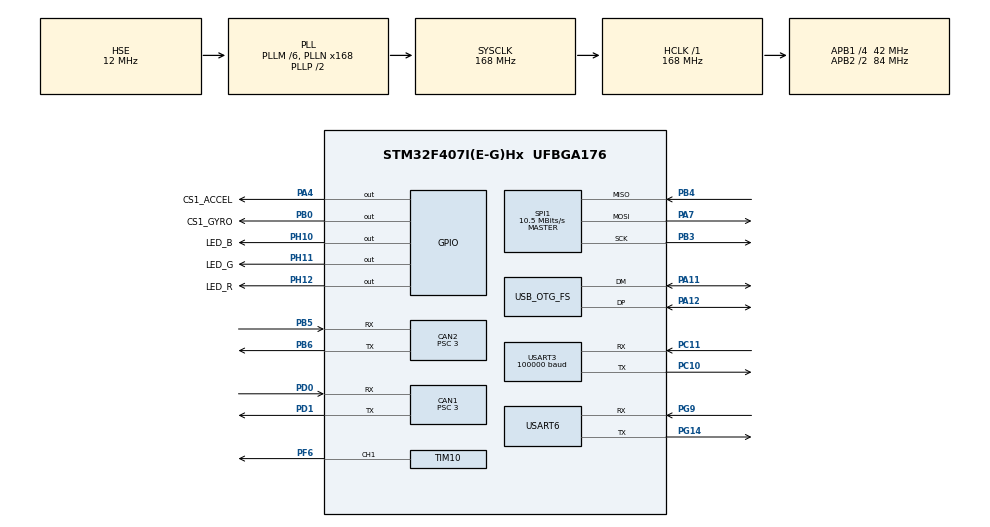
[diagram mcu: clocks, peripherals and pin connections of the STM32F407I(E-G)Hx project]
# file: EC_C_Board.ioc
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CAN1.ABOM=DISABLE
CAN1.AWUM=DISABLE
CAN1.BS1=CAN_BS1_10TQ
CAN1.BS2=CAN_BS2_3TQ
CAN1.CalculateBaudRate=1000000
CAN1.CalculateTimeBit=1000
CAN1.CalculateTimeQuantum=71.42857142857143
CAN1.NART=DISABLE
CAN1.Prescaler=3
CAN1.TXFP=DISABLE
CAN2.ABOM=DISABLE
CAN2.AWUM=DISABLE
CAN2.BS1=CAN_BS1_10TQ
CAN2.BS2=CAN_BS2_3TQ
CAN2.CalculateBaudRate=1000000
CAN2.CalculateTimeBit=1000
CAN2.CalculateTimeQuantum=71.42857142857143
CAN2.NART=DISABLE
CAN2.Prescaler=3
CAN2.TXFP=DISABLE
Dma.Request0=USART3_RX
Dma.Request1=USART6_RX
Dma.Request2=USART6_TX
Dma.USART3_RX.0.Direction=DMA_PERIPH_TO_MEMORY
Dma.USART3_RX.0.FIFOMode=DMA_FIFOMODE_DISABLE
Dma.USART3_RX.0.Instance=DMA1_Stream1
Dma.USART3_RX.0.MemDataAlignment=DMA_MDATAALIGN_BYTE
Dma.USART3_RX.0.MemInc=DMA_MINC_ENABLE
Dma.USART3_RX.0.Mode=DMA_NORMAL
Dma.USART3_RX.0.PeriphDataAlignment=DMA_PDATAALIGN_BYTE
Dma.USART3_RX.0.PeriphInc=DMA_PINC_DISABLE
Dma.USART3_RX.0.Priority=DMA_PRIORITY_HIGH
Dma.USART6_RX.1.Direction=DMA_PERIPH_TO_MEMORY
Dma.USART6_RX.1.FIFOMode=DMA_FIFOMODE_DISABLE
Dma.USART6_RX.1.Instance=DMA2_Stream1
Dma.USART6_RX.1.MemDataAlignment=DMA_MDATAALIGN_BYTE
Dma.USART6_RX.1.MemInc=DMA_MINC_ENABLE
Dma.USART6_RX.1.Mode=DMA_NORMAL
Dma.USART6_RX.1.PeriphDataAlignment=DMA_PDATAALIGN_BYTE
Dma.USART6_RX.1.PeriphInc=DMA_PINC_DISABLE
Dma.USART6_RX.1.Priority=DMA_PRIORITY_LOW
Dma.USART6_TX.2.Direction=DMA_MEMORY_TO_PERIPH
Dma.USART6_TX.2.FIFOMode=DMA_FIFOMODE_DISABLE
Dma.USART6_TX.2.Instance=DMA2_Stream6
Dma.USART6_TX.2.MemDataAlignment=DMA_MDATAALIGN_BYTE
Dma.USART6_TX.2.MemInc=DMA_MINC_ENABLE
Dma.USART6_TX.2.Mode=DMA_NORMAL
Dma.USART6_TX.2.PeriphDataAlignment=DMA_PDATAALIGN_BYTE
Dma.USART6_TX.2.PeriphInc=DMA_PINC_DISABLE
Dma.USART6_TX.2.Priority=DMA_PRIORITY_LOW
FREERTOS.INCLUDE_vTaskDelayUntil=1
FREERTOS.Tasks01=defaultTask,0,128,StartDefaultTask,Default,NULL,Dynamic,NULL,NULL;insTask,3,512,StartInsTask,Default,NULL,Dynamic,NULL,NULL;gimbalTask,2,512,StartGimbalTask,Default,NULL,Dynamic,NULL,NULL;modeTask,1,256,StartModeTask,Default,NULL,Dynamic,NULL,NULL;chassisTask,0,256,StartChassisTask,Default,NULL,Dynamic,NULL,NULL;canTask,2,256,StartCanTask,Default,NULL,Dynamic,NULL,NULL
FREERTOS.configENABLE_FPU=1
FREERTOS.configUSE_NEWLIB_REENTRANT=1
Mcu.Family=STM32F4
Mcu.Name=STM32F407I(E-G)Hx
Mcu.Package=UFBGA176
NVIC.CAN1_RX0_IRQn=true\:5\:0\:false\:false\:true\:true\:true\:true\:true
NVIC.CAN2_RX0_IRQn=true\:5\:0\:false\:false\:true\:true\:true\:true\:true
NVIC.DMA1_Stream1_IRQn=true\:5\:0\:false\:false\:true\:true\:false\:true\:true
NVIC.DMA2_Stream1_IRQn=true\:5\:0\:false\:false\:true\:true\:false\:true\:true
NVIC.DMA2_Stream6_IRQn=true\:5\:0\:false\:false\:true\:true\:false\:true\:true
NVIC.OTG_FS_IRQn=true\:5\:0\:false\:false\:true\:true\:false\:true\:true
NVIC.PriorityGroup=NVIC_PRIORITYGROUP_4
NVIC.TIM8_TRG_COM_TIM14_IRQn=true\:15\:0\:false\:false\:true\:false\:false\:true\:true
NVIC.TimeBase=TIM8_TRG_COM_TIM14_IRQn
NVIC.TimeBaseIP=TIM14
NVIC.USART3_IRQn=true\:5\:0\:false\:false\:true\:true\:true\:true\:true
NVIC.USART6_IRQn=true\:5\:0\:false\:false\:true\:true\:true\:true\:true
PA11.Mode=Device_Only
PA11.Signal=USB_OTG_FS_DM
PA12.Mode=Device_Only
PA12.Signal=USB_OTG_FS_DP
PA13.Mode=Serial_Wire
PA13.Signal=SYS_JTMS-SWDIO
PA14.Mode=Serial_Wire
PA14.Signal=SYS_JTCK-SWCLK
PA4.GPIO_Label=CS1_ACCEL
PA4.GPIO_PuPd=GPIO_PULLUP
PA4.GPIO_Speed=GPIO_SPEED_FREQ_HIGH
PA4.PinState=GPIO_PIN_SET
PA4.Signal=GPIO_Output
PA7.Mode=Full_Duplex_Master
PA7.Signal=SPI1_MOSI
PB0.GPIO_Label=CS1_GYRO
PB0.GPIO_PuPd=GPIO_PULLUP
PB0.GPIO_Speed=GPIO_SPEED_FREQ_HIGH
PB0.PinState=GPIO_PIN_SET
PB0.Signal=GPIO_Output
PB3.Mode=Full_Duplex_Master
PB3.Signal=SPI1_SCK
PB4.Mode=Full_Duplex_Master
PB4.Signal=SPI1_MISO
PB5.Mode=CAN_Activate
PB5.Signal=CAN2_RX
PB6.Mode=CAN_Activate
PB6.Signal=CAN2_TX
PC10.Mode=Asynchronous
PC10.Signal=USART3_TX
PC11.Mode=Asynchronous
PC11.Signal=USART3_RX
PD0.Mode=CAN_Activate
PD0.Signal=CAN1_RX
PD1.Mode=CAN_Activate
PD1.Signal=CAN1_TX
PF6.Signal=S_TIM10_CH1
PG14.Mode=Asynchronous
PG14.Signal=USART6_TX
PG9.Mode=Asynchronous
PG9.Signal=USART6_RX
PH0-OSC_IN.Mode=HSE-External-Oscillator
PH0-OSC_IN.Signal=RCC_OSC_IN
PH1-OSC_OUT.Mode=HSE-External-Oscillator
PH1-OSC_OUT.Signal=RCC_OSC_OUT
PH10.GPIO_Label=LED_B
PH10.GPIO_PuPd=GPIO_PULLUP
PH10.PinState=GPIO_PIN_SET
PH10.Signal=GPIO_Output
PH11.GPIO_Label=LED_G
PH11.GPIO_PuPd=GPIO_PULLUP
PH11.Signal=GPIO_Output
PH12.GPIO_Label=LED_R
PH12.GPIO_PuPd=GPIO_PULLUP
PH12.Signal=GPIO_Output
ProjectManager.HeapSize=0x4000
ProjectManager.StackSize=0x4000
ProjectManager.TargetToolchain=STM32CubeIDE
RCC.48MHZClocksFreq_Value=48000000
RCC.AHBFreq_Value=168000000
RCC.APB1CLKDivider=RCC_HCLK_DIV4
RCC.APB1Freq_Value=42000000
RCC.APB1TimFreq_Value=84000000
RCC.APB2CLKDivider=RCC_HCLK_DIV2
RCC.APB2Freq_Value=84000000
RCC.APB2TimFreq_Value=168000000
RCC.CortexFreq_Value=168000000
RCC.HCLKFreq_Value=168000000
RCC.HSE_VALUE=12000000
RCC.HSI_VALUE=16000000
RCC.LSE_VALUE=32768
RCC.PLLM=6
RCC.PLLN=168
RCC.PLLQ=7
RCC.SYSCLKFreq_VALUE=168000000
RCC.SYSCLKSource=RCC_SYSCLKSOURCE_PLLCLK
RCC.VCOOutputFreq_Value=336000000
SH.S_TIM10_CH1.0=TIM10_CH1,PWM Generation1 CH1
SPI1.BaudRatePrescaler=SPI_BAUDRATEPRESCALER_8
SPI1.CLKPhase=SPI_PHASE_2EDGE
SPI1.CLKPolarity=SPI_POLARITY_HIGH
SPI1.CalculateBaudRate=10.5 MBits/s
SPI1.Direction=SPI_DIRECTION_2LINES
SPI1.Mode=SPI_MODE_MASTER
SPI1.VirtualType=VM_MASTER
STMicroelectronics.X-CUBE-ALGOBUILD.1.3.0.LibraryCcDSPOoLibraryJjDSPOoLibrary=true
TIM10.Channel=TIM_CHANNEL_1
TIM10.Period=2000-1
TIM10.Prescaler=84-1
USART3.BaudRate=100000
USART3.Mode=MODE_RX
USART3.Parity=PARITY_EVEN
USART3.VirtualMode=VM_ASYNC
USART3.WordLength=WORDLENGTH_9B
USART6.VirtualMode=VM_ASYNC
USB_DEVICE.CLASS_NAME_FS=CDC
USB_DEVICE.VirtualMode-CDC_FS=Cdc
USB_DEVICE.VirtualModeFS=Cdc_FS
USB_OTG_FS.VirtualMode=Device_Only
VP_FREERTOS_VS_CMSIS_V1.Mode=CMSIS_V1
VP_STMicroelectronics.X-CUBE-ALGOBUILD_VS_DSPOoLibraryJjLibrary_1.3.0_1.3.0.Mode=DSPOoLibraryJjLibrary
VP_SYS_VS_tim14.Mode=TIM14
VP_TIM10_VS_ClockSourceINT.Mode=Enable_Timer
VP_USB_DEVICE_VS_USB_DEVICE_CDC_FS.Mode=CDC_FS
board=custom

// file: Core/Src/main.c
/* USER CODE BEGIN Header */
/**
 ******************************************************************************
 * @file           : main.c
 * @brief          : Main program body
 ******************************************************************************
 * @attention
 *
 * Copyright (c) 2023 STMicroelectronics.
 * All rights reserved.
 *
 * This software is licensed under terms that can be found in the LICENSE file
 * in the root directory of this software component.
 * If no LICENSE file comes with this software, it is provided AS-IS.
 *
 ******************************************************************************
 */
/* USER CODE END Header */
#include "main.h"
#include "cmsis_os.h"
#include "can.h"
#include "dma.h"
#include "spi.h"
#include "tim.h"
#include "usart.h"
#include "usb_device.h"
#include "gpio.h"

/* USER CODE BEGIN Includes */
#include "bmi088_driver.h"
#include "bsp_dwt.h"
#include "infantry.h"
/* USER CODE END Includes */

void SystemClock_Config(void);
void MX_FREERTOS_Init(void);

int main(void)
{

  /* MCU Configuration--------------------------------------------------------*/

  /* Reset of all peripherals, Initializes the Flash interface and the Systick. */
  HAL_Init();

  /* Configure the system clock */
  SystemClock_Config();

  /* Initialize all configured peripherals */
  MX_GPIO_Init();
  MX_DMA_Init();
  MX_CAN1_Init();
  MX_CAN2_Init();
  MX_SPI1_Init();
  MX_TIM10_Init();
  MX_USART3_UART_Init();
  MX_USART6_UART_Init();
  /* USER CODE BEGIN 2 */
    DWT_Init(168);
    while (BMI088_init(&hspi1, 1) != BMI088_NO_ERROR)
        ;
    InfantryGimbalInit();
  /* USER CODE END 2 */

  /* Call init function for freertos objects (in freertos.c) */
  MX_FREERTOS_Init();

  /* Start scheduler */
  osKernelStart();

  /* We should never get here as control is now taken by the scheduler */
  /* Infinite loop */
    while (1) {

    }
}

void SystemClock_Config(void)
{
  RCC_OscInitTypeDef RCC_OscInitStruct = {0};
  RCC_ClkInitTypeDef RCC_ClkInitStruct = {0};

  /** Configure the main internal regulator output voltage
  */
  __HAL_RCC_PWR_CLK_ENABLE();
  __HAL_PWR_VOLTAGESCALING_CONFIG(PWR_REGULATOR_VOLTAGE_SCALE1);

  /** Initializes the RCC Oscillators according to the specified parameters
  * in the RCC_OscInitTypeDef structure.
  */
  RCC_OscInitStruct.OscillatorType = RCC_OSCILLATORTYPE_HSE;
  RCC_OscInitStruct.HSEState = RCC_HSE_ON;
  RCC_OscInitStruct.PLL.PLLState = RCC_PLL_ON;
  RCC_OscInitStruct.PLL.PLLSource = RCC_PLLSOURCE_HSE;
  RCC_OscInitStruct.PLL.PLLM = 6;
  RCC_OscInitStruct.PLL.PLLN = 168;
  RCC_OscInitStruct.PLL.PLLP = RCC_PLLP_DIV2;
  RCC_OscInitStruct.PLL.PLLQ = 7;
  if (HAL_RCC_OscConfig(&RCC_OscInitStruct) != HAL_OK)
  {
    Error_Handler();
  }

  /** Initializes the CPU, AHB and APB buses clocks
  */
  RCC_ClkInitStruct.ClockType = RCC_CLOCKTYPE_HCLK|RCC_CLOCKTYPE_SYSCLK
                              |RCC_CLOCKTYPE_PCLK1|RCC_CLOCKTYPE_PCLK2;
  RCC_ClkInitStruct.SYSCLKSource = RCC_SYSCLKSOURCE_PLLCLK;
  RCC_ClkInitStruct.AHBCLKDivider = RCC_SYSCLK_DIV1;
  RCC_ClkInitStruct.APB1CLKDivider = RCC_HCLK_DIV4;
  RCC_ClkInitStruct.APB2CLKDivider = RCC_HCLK_DIV2;

  if (HAL_RCC_ClockConfig(&RCC_ClkInitStruct, FLASH_LATENCY_5) != HAL_OK)
  {
    Error_Handler();
  }
}

void HAL_TIM_PeriodElapsedCallback(TIM_HandleTypeDef *htim)
{
  if (htim->Instance == TIM14) {
    HAL_IncTick();
  }
}

void Error_Handler(void)
{
    __disable_irq();
    while (1) {
    }
}

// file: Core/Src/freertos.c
/* USER CODE BEGIN Header */
/**
 ******************************************************************************
 * File Name          : freertos.c
 * Description        : Code for freertos applications
 ******************************************************************************
 * @attention
 *
 * Copyright (c) 2023 STMicroelectronics.
 * All rights reserved.
 *
 * This software is licensed under terms that can be found in the LICENSE file
 * in the root directory of this software component.
 * If no LICENSE file comes with this software, it is provided AS-IS.
 *
 ******************************************************************************
 */
/* USER CODE END Header */

#include "FreeRTOS.h"
#include "task.h"
#include "main.h"
#include "cmsis_os.h"

/* USER CODE BEGIN Includes */
#include "infantry.h"
#include "ins.h"
#include "remote_keyboard.h"
/* USER CODE END Includes */

osThreadId defaultTaskHandle;
osThreadId insTaskHandle;
osThreadId gimbalTaskHandle;
osThreadId modeTaskHandle;
osThreadId chassisTaskHandle;
osThreadId canTaskHandle;

void StartDefaultTask(void const * argument);
void StartInsTask(void const * argument);
void StartGimbalTask(void const * argument);
void StartModeTask(void const * argument);
void StartChassisTask(void const * argument);
void StartCanTask(void const * argument);

extern void MX_USB_DEVICE_Init(void);
void MX_FREERTOS_Init(void); /* (MISRA C 2004 rule 8.1) */

/* GetIdleTaskMemory prototype (linked to static allocation support) */
void vApplicationGetIdleTaskMemory( StaticTask_t **ppxIdleTaskTCBBuffer, StackType_t **ppxIdleTaskStackBuffer, uint32_t *pulIdleTaskStackSize );

/* USER CODE BEGIN GET_IDLE_TASK_MEMORY */
static StaticTask_t xIdleTaskTCBBuffer;
static StackType_t xIdleStack[configMINIMAL_STACK_SIZE];

void vApplicationGetIdleTaskMemory(StaticTask_t** ppxIdleTaskTCBBuffer,
                                   StackType_t** ppxIdleTaskStackBuffer,
                                   uint32_t* pulIdleTaskStackSize) {
  *ppxIdleTaskTCBBuffer = &xIdleTaskTCBBuffer;
  *ppxIdleTaskStackBuffer = &xIdleStack[0];
  *pulIdleTaskStackSize = configMINIMAL_STACK_SIZE;
  /* place for user code */
}
/* USER CODE END GET_IDLE_TASK_MEMORY */

void MX_FREERTOS_Init(void) {

  /* Create the thread(s) */
  /* definition and creation of defaultTask */
  osThreadDef(defaultTask, StartDefaultTask, osPriorityNormal, 0, 128);
  defaultTaskHandle = osThreadCreate(osThread(defaultTask), NULL);

  /* definition and creation of insTask */
  osThreadDef(insTask, StartInsTask, osPriorityRealtime, 0, 512);
  insTaskHandle = osThreadCreate(osThread(insTask), NULL);

  /* definition and creation of gimbalTask */
  osThreadDef(gimbalTask, StartGimbalTask, osPriorityHigh, 0, 512);
  gimbalTaskHandle = osThreadCreate(osThread(gimbalTask), NULL);

  /* definition and creation of modeTask */
  osThreadDef(modeTask, StartModeTask, osPriorityAboveNormal, 0, 256);
  modeTaskHandle = osThreadCreate(osThread(modeTask), NULL);

  /* definition and creation of chassisTask */
  osThreadDef(chassisTask, StartChassisTask, osPriorityNormal, 0, 256);
  chassisTaskHandle = osThreadCreate(osThread(chassisTask), NULL);

  /* definition and creation of canTask */
  osThreadDef(canTask, StartCanTask, osPriorityHigh, 0, 256);
  canTaskHandle = osThreadCreate(osThread(canTask), NULL);

}

void StartDefaultTask(void const * argument)
{
  /* init code for USB_DEVICE */
  MX_USB_DEVICE_Init();
  /* USER CODE BEGIN StartDefaultTask */
  /* Infinite loop */
  for (;;) {
    HAL_GPIO_TogglePin(LED_B_GPIO_Port, LED_B_Pin);
    osDelay(100);
  }
  /* USER CODE END StartDefaultTask */
}

void StartInsTask(void const * argument)
{
  /* USER CODE BEGIN StartInsTask */
  INS_Init();
  /* Infinite loop */
  for (;;) {
    INS_Task();
    osDelay(1);
  }
  /* USER CODE END StartInsTask */
}

void StartGimbalTask(void const * argument)
{
  /* USER CODE BEGIN StartGimbalTask */
  GimbalInit();
  /* Infinite loop */
  for (;;) {
    GimbalTask();
    osDelay(1);
  }
  /* USER CODE END StartGimbalTask */
}

void StartModeTask(void const * argument)
{
  /* USER CODE BEGIN StartModeTask */
  /* Infinite loop */
  for (;;) {
    ModeTask();
    osDelay(1);
  }
  /* USER CODE END StartModeTask */
}

void StartChassisTask(void const * argument)
{
  /* USER CODE BEGIN StartChassisTask */
  /* Infinite loop */
  for (;;) {
    ChassisTask();
    osDelay(2);
  }
  /* USER CODE END StartChassisTask */
}

void StartCanTask(void const * argument)
{
  /* USER CODE BEGIN StartCanTask */
  /* Infinite loop */
  for (;;) {
    CanTask();
    osDelay(1);
  }
  /* USER CODE END StartCanTask */
}
